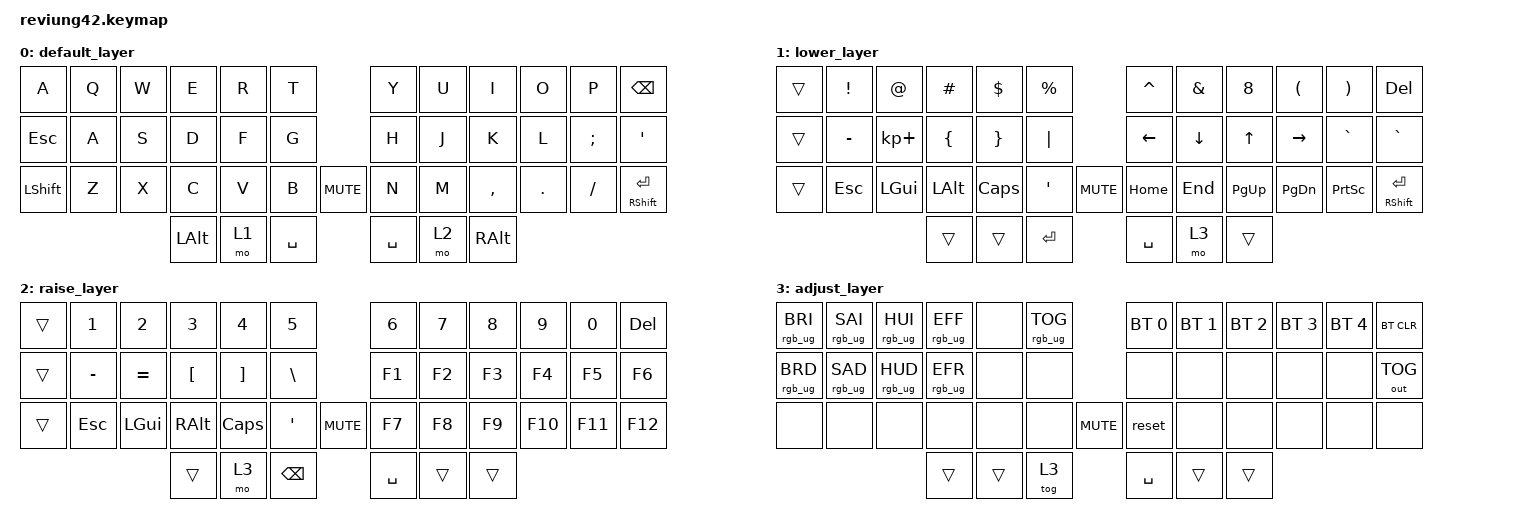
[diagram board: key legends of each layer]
/*
 * Copyright (c) 2020 The ZMK Contributors
 *
 * SPDX-License-Identifier: MIT
 */

#include <behaviors.dtsi>
#include <dt-bindings/zmk/keys.h>
#include <dt-bindings/zmk/bt.h>
#include <dt-bindings/zmk/rgb.h>
#include <dt-bindings/zmk/outputs.h>

/ {
        keymap {
                compatible = "zmk,keymap";

                default_layer {
// -------------------------------------------------------------------------------------
// |  A |  Q  |  W  |  E  |  R  |  T  |   |  Y  |  U   |  I  |  O  |  P  |   BKSP    |
// | CTRL |  A  |  S  |  D  |  F  |  G  |   |  H  |  J   |  K  |  L  |  ;  |    '      |
// | SHFT |  Z  |  X  |  C  |  V  |  B  |   |  N  |  M   |  ,  |  .  |  /  | SHFT(RET) |
//                         | ALT | LWR | SPC | RSE  | ALT |
                        bindings = <
   &kp A   &kp Q &kp W &kp E &kp R &kp T              &kp Y &kp U  &kp I     &kp O   &kp P    &kp BSPC
   &kp ESC &kp A &kp S &kp D &kp F &kp G              &kp H &kp J  &kp K     &kp L   &kp SEMI &kp SQT
   &kp LSHFT &kp Z &kp X &kp C &kp V &kp B  &kp C_MUTE  &kp N &kp M  &kp COMMA &kp DOT &kp FSLH &mt RSHFT RET
                        &kp LALT  &mo 1 &kp SPACE &kp SPACE &mo 2  &kp RALT
                        >;
                };

                lower_layer {
// ----------------------------------------------------------------------------------
// |    |  !  |  @  |  #  |  $  |  %  |   |  ^  |  &  |  *  |  (  |  )  |    DEL    |
// |    |  _  |  +  |  {  |  }  | "|" |   | LFT | DWN |  UP | RGT |  `  |     ~     |
// |    | ESC | GUI | ALT | CAPS|  "  |   | HOME| END | PGUP| PGDN| PRSC| SHFT(RET) |
//                       |     |     | RET | ADJ |     |
                        bindings = <
   &trans &kp EXCL  &kp AT      &kp HASH &kp DLLR &kp PRCNT               &kp CARET &kp AMPS &kp N8    &kp LPAR  &kp RPAR  &kp DEL
   &trans &kp MINUS &kp KP_PLUS &kp LBRC &kp RBRC &kp PIPE                &kp LEFT  &kp DOWN &kp UP    &kp RIGHT &kp GRAVE &kp GRAVE
   &trans &kp ESC   &kp LGUI    &kp LALT &kp CLCK &kp SQT     &kp C_MUTE  &kp HOME  &kp END  &kp PG_UP &kp PG_DN &kp PSCRN &mt RSHFT RET
                                 &trans      &trans       &kp RET   &kp SPACE      &mo 3       &trans
                        >;
                };

                raise_layer {
// -----------------------------------------------------------------------------------------
// |    |  1  |  2  |  3  |  4  |  5  |   |  6  |  7  |  8  |  9  |  0  | DEL |
// |    |  -  |  =  |  [  |  ]  |  \  |   | F1  | F2  | F3  | F4  | F5  | F6  |
// |    | ESC | GUI | ALT | CAPS|  "  |   | F7  | F8  | F9  | F10 | F11 | F12 |
//                       |     | ADJ | BKSP |    |     |
                        bindings = <
   &trans &kp N1    &kp N2    &kp N3    &kp N4    &kp N5                  &kp N6    &kp N7    &kp N8    &kp N9    &kp N0    &kp DEL
   &trans &kp MINUS &kp EQUAL &kp LBKT  &kp RBKT  &kp BSLH                &kp F1    &kp F2    &kp F3    &kp F4    &kp F5    &kp F6
   &trans &kp ESC   &kp LGUI  &kp RALT  &kp CLCK  &kp SQT     &kp C_MUTE  &kp F7    &kp F8    &kp F9    &kp F10   &kp F11   &kp F12
                                &trans      &mo 3       &kp BSPC  &kp SPACE        &trans      &trans
                        >;
                };

                adjust_layer {
// -----------------------------------------------------------------------------------------
// | RGB BRI+ | RGB SAT+ | RGB HUE+ | RGB ANI+ |    | RGB TOG |   |  BT1  | BT2 | BT3 | BT4 | BT5 | BT CLR |
// | RGB BRI- | RGB SAT- | RGB HUE- | RGB ANI+ |    |         |   |       |     |     |     |     | OUT TG |
// |          |          |          |          |    |         |   | RESET |     |     |     |     |        |
//                                              |     |     |     |     |     |
                        bindings = <
   &rgb_ug RGB_BRI &rgb_ug RGB_SAI &rgb_ug RGB_HUI &rgb_ug RGB_EFF &none &rgb_ug RGB_TOG      &bt BT_SEL 0 &bt BT_SEL 1 &bt BT_SEL 2 &bt BT_SEL 3 &bt BT_SEL 4 &bt BT_CLR
   &rgb_ug RGB_BRD &rgb_ug RGB_SAD &rgb_ug RGB_HUD &rgb_ug RGB_EFR &none &none                &none        &none        &none        &none        &none        &out OUT_TOG
   &none           &none           &none           &none           &none &none   &kp C_MUTE   &reset       &none        &none        &none        &none        &none
                                                       &trans      &trans       &tog 3  &kp SPACE    &trans      &trans
                        >;
                };
        };
};
